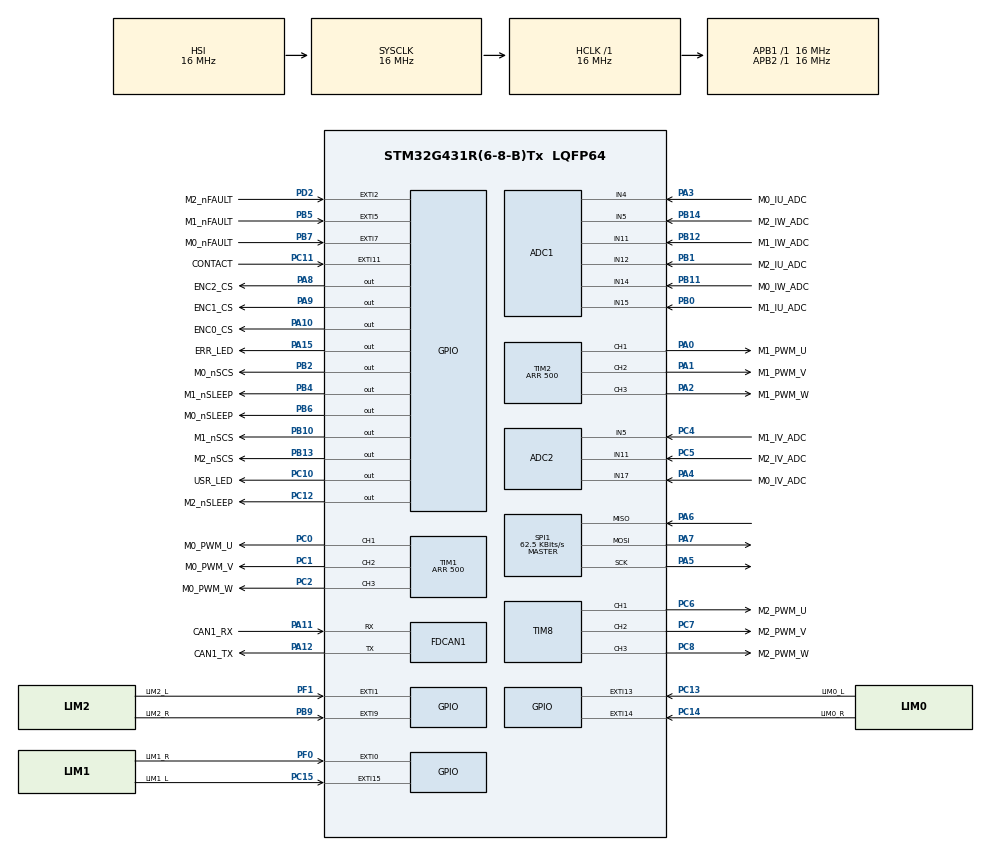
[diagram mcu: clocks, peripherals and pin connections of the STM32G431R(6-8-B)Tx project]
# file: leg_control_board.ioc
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ADC1.ClockPrescaler=ADC_CLOCK_SYNC_PCLK_DIV1
ADC1.EOCSelection=ADC_EOC_SEQ_CONV
ADC1.EnableInjectedConversion=ENABLE
ADC1.EnableRegularConversion=DISABLE
ADC1.ExternalTrigInjecConv=ADC_EXTERNALTRIGINJEC_T1_CC4
ADC1.InjNumberOfConversion=3
ADC1.InjectedChannel-3\#ChannelInjectedConversion=ADC_CHANNEL_4
ADC1.InjectedChannel-4\#ChannelInjectedConversion=ADC_CHANNEL_15
ADC1.InjectedChannel-5\#ChannelInjectedConversion=ADC_CHANNEL_12
ADC1.InjectedOffsetNumber-3\#ChannelInjectedConversion=ADC_OFFSET_NONE
ADC1.InjectedOffsetNumber-4\#ChannelInjectedConversion=ADC_OFFSET_NONE
ADC1.InjectedOffsetNumber-5\#ChannelInjectedConversion=ADC_OFFSET_NONE
ADC1.InjectedRank-3\#ChannelInjectedConversion=1
ADC1.InjectedRank-4\#ChannelInjectedConversion=2
ADC1.InjectedRank-5\#ChannelInjectedConversion=3
ADC1.InjectedSamplingTime-3\#ChannelInjectedConversion=ADC_SAMPLETIME_24CYCLES_5
ADC1.InjectedSamplingTime-4\#ChannelInjectedConversion=ADC_SAMPLETIME_24CYCLES_5
ADC1.InjectedSamplingTime-5\#ChannelInjectedConversion=ADC_SAMPLETIME_24CYCLES_5
ADC1.Mode=ADC_DUALMODE_INJECSIMULT
ADC1.Rank1_Channel=ADC_CHANNEL_4
ADC1.Rank2_Channel=ADC_CHANNEL_15
ADC1.Rank3_Channel=ADC_CHANNEL_12
ADC1.master=1
ADC2.Channel-2\#ChannelRegularConversion=ADC_CHANNEL_17
ADC2.ClockPrescaler=ADC_CLOCK_SYNC_PCLK_DIV1
ADC2.EOCSelection=ADC_EOC_SEQ_CONV
ADC2.EnableInjectedConversion=ENABLE
ADC2.EnableInjectedOversampling=DISABLE
ADC2.InjNumberOfConversion=3
ADC2.InjectedChannel-3\#ChannelInjectedConversion=ADC_CHANNEL_17
ADC2.InjectedChannel-4\#ChannelInjectedConversion=ADC_CHANNEL_5
ADC2.InjectedChannel-5\#ChannelInjectedConversion=ADC_CHANNEL_11
ADC2.InjectedOffsetNumber-3\#ChannelInjectedConversion=ADC_OFFSET_NONE
ADC2.InjectedOffsetNumber-4\#ChannelInjectedConversion=ADC_OFFSET_NONE
ADC2.InjectedOffsetNumber-5\#ChannelInjectedConversion=ADC_OFFSET_NONE
ADC2.InjectedRank-3\#ChannelInjectedConversion=1
ADC2.InjectedRank-4\#ChannelInjectedConversion=2
ADC2.InjectedRank-5\#ChannelInjectedConversion=3
ADC2.InjectedSamplingTime-3\#ChannelInjectedConversion=ADC_SAMPLETIME_24CYCLES_5
ADC2.InjectedSamplingTime-4\#ChannelInjectedConversion=ADC_SAMPLETIME_24CYCLES_5
ADC2.InjectedSamplingTime-5\#ChannelInjectedConversion=ADC_SAMPLETIME_24CYCLES_5
ADC2.Mode=ADC_DUALMODE_INJECSIMULT
ADC2.NbrOfConversionFlag=1
ADC2.OffsetNumber-2\#ChannelRegularConversion=ADC_OFFSET_NONE
ADC2.Rank-2\#ChannelRegularConversion=1
ADC2.Rank1_Channel=ADC_CHANNEL_17
ADC2.Rank2_Channel=ADC_CHANNEL_5
ADC2.Rank3_Channel=ADC_CHANNEL_11
ADC2.SamplingTime-2\#ChannelRegularConversion=ADC_SAMPLETIME_2CYCLES_5
ADC2.injectedQueueMode=DISABLE
FDCAN1.CalculateBaudRateNominal=333333
FDCAN1.CalculateTimeBitNominal=3000
FDCAN1.CalculateTimeQuantumNominal=1000.0
Mcu.Family=STM32G4
Mcu.Name=STM32G431R(6-8-B)Tx
Mcu.Package=LQFP64
NVIC.ADC1_2_IRQn=true\:0\:0\:false\:false\:true\:true\:true\:true
NVIC.PriorityGroup=NVIC_PRIORITYGROUP_4
NVIC.TIM1_CC_IRQn=true\:0\:0\:false\:false\:true\:true\:true\:true
NVIC.TIM1_UP_TIM16_IRQn=true\:0\:0\:false\:false\:true\:true\:true\:true
NVIC.TIM6_DAC_IRQn=true\:0\:0\:false\:false\:true\:true\:true\:true
PA0.GPIO_Label=M1_PWM_U
PA0.Signal=S_TIM2_CH1
PA1.GPIO_Label=M1_PWM_V
PA1.Signal=S_TIM2_CH2
PA10.GPIO_Label=ENC0_CS
PA10.Signal=GPIO_Output
PA11.GPIO_Label=CAN1_RX
PA11.Mode=FDCAN_Activate
PA11.Signal=FDCAN1_RX
PA12.GPIO_Label=CAN1_TX
PA12.Mode=FDCAN_Activate
PA12.Signal=FDCAN1_TX
PA13.GPIO_Label=SWDIO
PA13.Mode=Trace_Asynchronous_SW
PA13.Signal=SYS_JTMS-SWDIO
PA14.GPIO_Label=SWCLK
PA14.Mode=Trace_Asynchronous_SW
PA14.Signal=SYS_JTCK-SWCLK
PA15.GPIO_Label=ERR_LED
PA15.Signal=GPIO_Output
PA2.GPIO_Label=M1_PWM_W
PA2.Signal=S_TIM2_CH3
PA3.GPIO_Label=M0_IU_ADC
PA3.Mode=IN4-Single-Ended
PA3.Signal=ADC1_IN4
PA4.GPIO_Label=M0_IV_ADC
PA4.Mode=IN17-Single-Ended
PA4.Signal=ADC2_IN17
PA5.Mode=Full_Duplex_Master
PA5.Signal=SPI1_SCK
PA6.Mode=Full_Duplex_Master
PA6.Signal=SPI1_MISO
PA7.Mode=Full_Duplex_Master
PA7.Signal=SPI1_MOSI
PA8.GPIO_Label=ENC2_CS
PA8.Signal=GPIO_Output
PA9.GPIO_Label=ENC1_CS
PA9.Signal=GPIO_Output
PB0.GPIO_Label=M1_IU_ADC
PB0.Mode=IN15-Single-Ended
PB0.Signal=ADC1_IN15
PB1.GPIO_Label=M2_IU_ADC
PB1.Mode=IN12-Single-Ended
PB1.Signal=ADC1_IN12
PB10.GPIO_Label=M1_nSCS
PB10.Signal=GPIO_Output
PB11.GPIO_Label=M0_IW_ADC
PB11.Mode=IN14-Single-Ended
PB11.Signal=ADC1_IN14
PB12.GPIO_Label=M1_IW_ADC
PB12.Mode=IN11-Single-Ended
PB12.Signal=ADC1_IN11
PB13.GPIO_Label=M2_nSCS
PB13.Signal=GPIO_Output
PB14.GPIO_Label=M2_IW_ADC
PB14.Mode=IN5-Single-Ended
PB14.Signal=ADC1_IN5
PB2.GPIO_Label=M0_nSCS
PB2.Signal=GPIO_Output
PB3.GPIO_Label=SWO
PB3.Mode=Trace_Asynchronous_SW
PB3.Signal=SYS_JTDO-SWO
PB4.GPIO_Label=M1_nSLEEP
PB4.Signal=GPIO_Output
PB5.GPIO_Label=M1_nFAULT
PB5.Signal=GPXTI5
PB6.GPIO_Label=M0_nSLEEP
PB6.Signal=GPIO_Output
PB7.GPIO_Label=M0_nFAULT
PB7.Signal=GPXTI7
PB9.GPIO_Label=LIM2_R
PB9.Signal=GPXTI9
PC0.GPIO_Label=M0_PWM_U
PC0.Signal=S_TIM1_CH1
PC1.GPIO_Label=M0_PWM_V
PC1.Signal=S_TIM1_CH2
PC10.GPIO_Label=USR_LED
PC10.Signal=GPIO_Output
PC11.GPIO_Label=CONTACT
PC11.Signal=GPXTI11
PC12.GPIO_Label=M2_nSLEEP
PC12.Signal=GPIO_Output
PC13.GPIO_Label=LIM0_L
PC13.Signal=GPXTI13
PC14-OSC32_IN.GPIO_Label=LIM0_R
PC14-OSC32_IN.Signal=GPXTI14
PC15-OSC32_OUT.GPIO_Label=LIM1_L
PC15-OSC32_OUT.Signal=GPXTI15
PC2.GPIO_Label=M0_PWM_W
PC2.Signal=S_TIM1_CH3
PC3.GPIO_Label=DRV_BKIN
PC3.Signal=TIM1_BKIN2
PC4.GPIO_Label=M1_IV_ADC
PC4.Mode=IN5-Single-Ended
PC4.Signal=ADC2_IN5
PC5.GPIO_Label=M2_IV_ADC
PC5.Mode=IN11-Single-Ended
PC5.Signal=ADC2_IN11
PC6.GPIO_Label=M2_PWM_U
PC6.Signal=S_TIM8_CH1
PC7.GPIO_Label=M2_PWM_V
PC7.Signal=S_TIM8_CH2
PC8.GPIO_Label=M2_PWM_W
PC8.Signal=S_TIM8_CH3
PD2.GPIO_Label=M2_nFAULT
PD2.Signal=GPXTI2
PF0-OSC_IN.GPIO_Label=LIM1_R
PF0-OSC_IN.Signal=GPXTI0
PF1-OSC_OUT.GPIO_Label=LIM2_L
PF1-OSC_OUT.Signal=GPXTI1
ProjectManager.HeapSize=0x200
ProjectManager.StackSize=0x400
ProjectManager.TargetToolchain=CMake
RCC.ADC12Freq_Value=16000000
RCC.AHBFreq_Value=16000000
RCC.APB1Freq_Value=16000000
RCC.APB1TimFreq_Value=16000000
RCC.APB2Freq_Value=16000000
RCC.APB2TimFreq_Value=16000000
RCC.CortexFreq_Value=16000000
RCC.EXTERNAL_CLOCK_VALUE=12288000
RCC.HCLKFreq_Value=16000000
RCC.HSE_VALUE=8000000
RCC.HSI48_VALUE=48000000
RCC.HSI_VALUE=16000000
RCC.LSE_VALUE=32768
RCC.PLLM=RCC_PLLM_DIV4
RCC.PLLN=50
RCC.SYSCLKFreq_VALUE=16000000
RCC.USBFreq_Value=100000000
RCC.VCOOutputFreq_Value=200000000
SH.S_TIM1_CH1.0=TIM1_CH1,PWM Generation1 CH1
SH.S_TIM1_CH2.0=TIM1_CH2,PWM Generation2 CH2
SH.S_TIM1_CH3.0=TIM1_CH3,PWM Generation3 CH3
SH.S_TIM2_CH1.0=TIM2_CH1,PWM Generation1 CH1
SH.S_TIM2_CH2.0=TIM2_CH2,PWM Generation2 CH2
SH.S_TIM2_CH3.0=TIM2_CH3,PWM Generation3 CH3
SH.S_TIM8_CH1.0=TIM8_CH1,Output Compare1 CH1
SH.S_TIM8_CH2.0=TIM8_CH2,Output Compare2 CH2
SH.S_TIM8_CH3.0=TIM8_CH3,Output Compare3 CH3
SPI1.BaudRatePrescaler=SPI_BAUDRATEPRESCALER_256
SPI1.CLKPhase=SPI_PHASE_2EDGE
SPI1.CalculateBaudRate=62.5 KBits/s
SPI1.DataSize=SPI_DATASIZE_8BIT
SPI1.Direction=SPI_DIRECTION_2LINES
SPI1.Mode=SPI_MODE_MASTER
SPI1.VirtualType=VM_MASTER
TIM1.AutoReloadPreload=TIM_AUTORELOAD_PRELOAD_ENABLE
TIM1.Channel-PWM\ Generation1\ CH1=TIM_CHANNEL_1
TIM1.Channel-PWM\ Generation2\ CH2=TIM_CHANNEL_2
TIM1.Channel-PWM\ Generation3\ CH3=TIM_CHANNEL_3
TIM1.Channel-PWM\ Generation4\ No\ Output=TIM_CHANNEL_4
TIM1.CounterMode=TIM_COUNTERMODE_CENTERALIGNED1
TIM1.OC4Preload_PWM=DISABLE
TIM1.PeriodNoDither=500
TIM1.PulseNoDither_1=250
TIM1.PulseNoDither_2=250
TIM1.PulseNoDither_3=250
TIM1.PulseNoDither_4=450
TIM1.RepetitionCounter=1
TIM1.TIM_MasterOutputTrigger=TIM_TRGO_UPDATE
TIM2.AutoReloadPreload=TIM_AUTORELOAD_PRELOAD_ENABLE
TIM2.Channel-PWM\ Generation1\ CH1=TIM_CHANNEL_1
TIM2.Channel-PWM\ Generation2\ CH2=TIM_CHANNEL_2
TIM2.Channel-PWM\ Generation3\ CH3=TIM_CHANNEL_3
TIM2.Channel-PWM\ Generation4\ No\ Output=TIM_CHANNEL_4
TIM2.CounterMode=TIM_COUNTERMODE_CENTERALIGNED1
TIM2.OCMode_PWM-PWM\ Generation4\ No\ Output=TIM_OCMODE_PWM2
TIM2.PeriodNoDither=500
TIM2.PulseNoDither_1=250
TIM2.PulseNoDither_2=250
TIM2.PulseNoDither_3=250
TIM2.PulseNoDither_4=480
TIM2.TIM_MasterOutputTrigger=TIM_TRGO_OC4REF
TIM2.TIM_MasterSlaveMode=TIM_MASTERSLAVEMODE_DISABLE
TIM6.PeriodNoDither=999
TIM6.Prescaler=169
TIM8.Channel-Output\ Compare1\ CH1=TIM_CHANNEL_1
TIM8.Channel-Output\ Compare2\ CH2=TIM_CHANNEL_2
TIM8.Channel-Output\ Compare3\ CH3=TIM_CHANNEL_3
TIM8.Channel-Output\ Compare4\ No\ Output=TIM_CHANNEL_4
VP_CORDIC_VS_CORDIC.Mode=CORDIC_Activate
VP_SYS_VS_DBSignals.Mode=DisableDeadBatterySignals
VP_TIM1_VS_ClockSourceINT.Mode=Internal
VP_TIM1_VS_no_output4.Mode=PWM Generation4 No Output
VP_TIM2_VS_ClockSourceINT.Mode=Internal
VP_TIM2_VS_ClockSourceITR.Mode=TriggerSource_ITR0
VP_TIM2_VS_ControllerModeTrigger.Mode=Trigger Mode
VP_TIM2_VS_no_output4.Mode=PWM Generation4 No Output
VP_TIM6_VS_ClockSourceINT.Mode=Enable_Timer
VP_TIM8_VS_ClockSourceINT.Mode=Internal
VP_TIM8_VS_no_output4.Mode=Output Compare4 No Output
board=custom

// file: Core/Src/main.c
/* USER CODE BEGIN Header */
/**
 ******************************************************************************
 * @file           : main.c
 * @brief          : Main program body
 ******************************************************************************
 * @attention
 *
 * Copyright (c) 2026 STMicroelectronics.
 * All rights reserved.
 *
 * This software is licensed under terms that can be found in the LICENSE file
 * in the root directory of this software component.
 * If no LICENSE file comes with this software, it is provided AS-IS.
 *
 ******************************************************************************
 */
/* USER CODE END Header */
#include "main.h"
#include "adc.h"
#include "cordic.h"
#include "fdcan.h"
#include "gpio.h"
#include "spi.h"
#include "tim.h"

/* USER CODE BEGIN Includes */
#include "as5048a_adapter.h"
#include "current_sense.h"
#include "drv8316_adapter.h"
#include "foc9_adapter.h"
#include "swo.h"
#include <limits.h>
#include <stdbool.h>
#include <stdint.h>
#include <stdio.h>

/* USER CODE END Includes */

void SystemClock_Config(void);

/* USER CODE BEGIN 0 */
static AS5048A_Sample_t sample;

/* USER CODE END 0 */

int main(void) {

  /* MCU Configuration--------------------------------------------------------*/

  /* Reset of all peripherals, Initializes the Flash interface and the Systick. */
  HAL_Init();

  /* USER CODE BEGIN Init */

  CoreDebug->DEMCR |= CoreDebug_DEMCR_TRCENA_Msk;
  DWT->CYCCNT = 0;
  DWT->CTRL |= DWT_CTRL_CYCCNTENA_Msk;

  /* USER CODE END Init */

  /* Configure the system clock */
  SystemClock_Config();

  /* USER CODE BEGIN SysInit */

  SWO_Init();
  /* USER CODE END SysInit */

  /* Initialize all configured peripherals */
  MX_GPIO_Init();
  MX_ADC1_Init();
  MX_ADC2_Init();
  MX_CORDIC_Init();
  MX_FDCAN1_Init();
  MX_SPI1_Init();
  MX_TIM1_Init();
  MX_TIM2_Init();
  MX_TIM8_Init();
  MX_TIM6_Init();
  /* USER CODE BEGIN 2 */
  HAL_GPIO_WritePin(M0_nSLEEP_GPIO_Port, M0_nSLEEP_Pin, GPIO_PIN_RESET);

  if (HAL_ADCEx_Calibration_Start(&hadc1, ADC_SINGLE_ENDED) != HAL_OK) {
    Error_Handler();
  };

  if (HAL_ADCEx_Calibration_Start(&hadc2, ADC_SINGLE_ENDED) != HAL_OK) {
    Error_Handler();
  };

  if (drv8316_init_instance(DRV8316_INSTANCE_1) != HAL_OK) {
    Error_Handler();
  }

  if (drv8316_init_instance(DRV8316_INSTANCE_2) != HAL_OK) {
    Error_Handler();
  }

  // if (drv8316_init_instance(DRV8316_INSTANCE_3) != HAL_OK) {
  //   Error_Handler();
  // }

  // if (as5048a_init_instance(AS5048A_INSTANCE_1) != HAL_OK) {
  //   Error_Handler();
  // }

  if (as5048a_init_instance(AS5048A_INSTANCE_2) != HAL_OK) {
    Error_Handler();
  }

  // if (as5048a_init_instance(AS5048A_INSTANCE_3) != HAL_OK) {
  //   Error_Handler();
  // }

  if (as5048a_begin_continuous_angle_read(AS5048A_INSTANCE_2) != HAL_OK) {
    Error_Handler();
  }

  if (drv8316_wake(DRV8316_INSTANCE_1) != HAL_OK) {
    Error_Handler();
  };

  if (drv8316_wake(DRV8316_INSTANCE_2) != HAL_OK) {
    Error_Handler();
  };

  CurrentSense_Init();

  HAL_Delay(10);

  // 3. Start timer channels
  if (HAL_TIM_PWM_Start(&htim2, TIM_CHANNEL_1) != HAL_OK) {
    Error_Handler();
  }

  if (HAL_TIM_PWM_Start(&htim2, TIM_CHANNEL_2) != HAL_OK) {
    Error_Handler();
  }

  if (HAL_TIM_PWM_Start(&htim2, TIM_CHANNEL_3) != HAL_OK) {
    Error_Handler();
  }

  // 1. Arm ADC2 (slave)
  if (HAL_ADCEx_InjectedStart(&hadc2) != HAL_OK) {
    Error_Handler();
  }

  // 2. Arm ADC1 (master, interrupt enabled)
  if (HAL_ADCEx_InjectedStart_IT(&hadc1) != HAL_OK) {
    Error_Handler();
  }

  if (HAL_TIM_PWM_Start(&htim1, TIM_CHANNEL_1) != HAL_OK) {
    Error_Handler();
  }

  if (HAL_TIM_PWM_Start(&htim1, TIM_CHANNEL_2) != HAL_OK) {
    Error_Handler();
  }

  if (HAL_TIM_PWM_Start(&htim1, TIM_CHANNEL_3) != HAL_OK) {
    Error_Handler();
  }

  if (HAL_TIM_PWM_Start(&htim1, TIM_CHANNEL_4) != HAL_OK) {
    Error_Handler();
  }

  uint32_t arr = __HAL_TIM_GET_AUTORELOAD(&htim1);
  uint32_t neutral = arr / 2U;

  __HAL_TIM_SET_COMPARE(&htim1, TIM_CHANNEL_1, neutral);
  __HAL_TIM_SET_COMPARE(&htim1, TIM_CHANNEL_2, neutral);
  __HAL_TIM_SET_COMPARE(&htim1, TIM_CHANNEL_3, neutral);

  /* USER CODE END 2 */

  /* Infinite loop */
  /* USER CODE BEGIN WHILE */

  HAL_GPIO_WritePin(USR_LED_GPIO_Port, USR_LED_Pin, 1);
  HAL_Delay(100);
  HAL_GPIO_WritePin(USR_LED_GPIO_Port, USR_LED_Pin, 0);
  HAL_Delay(100);
  HAL_GPIO_WritePin(USR_LED_GPIO_Port, USR_LED_Pin, 1);
  HAL_Delay(100);
  HAL_GPIO_WritePin(USR_LED_GPIO_Port, USR_LED_Pin, 0);

  // WARN: Fix this
  axis_init_instance(AXIS_INSTANCE_1);
  axis_init_instance(AXIS_INSTANCE_2);

  uint8_t prev_drv1_cmd = 0;
  uint8_t prev_drv2_cmd = 0;
  uint8_t prev_drv3_cmd = 0;

  while (1) {

    CurrentSense_PrintStatus();
    /* USER CODE END WHILE */

    /* USER CODE BEGIN 3 */

    if (drv8316_1_enable_cmd != prev_drv1_cmd) {
      if (drv8316_1_enable_cmd) {
        drv8316_wake(DRV8316_INSTANCE_1);
      } else {
        drv8316_sleep(DRV8316_INSTANCE_1);
      }

      prev_drv1_cmd = drv8316_1_enable_cmd;
    }

    if (drv8316_2_enable_cmd != prev_drv2_cmd) {
      if (drv8316_2_enable_cmd) {
        drv8316_wake(DRV8316_INSTANCE_2);
      } else {
        drv8316_sleep(DRV8316_INSTANCE_2);
      }

      prev_drv2_cmd = drv8316_2_enable_cmd;
    }

    if (drv8316_3_enable_cmd != prev_drv3_cmd) {
      if (drv8316_3_enable_cmd) {
        drv8316_wake(DRV8316_INSTANCE_3);
      } else {
        drv8316_sleep(DRV8316_INSTANCE_3);
      }

      prev_drv3_cmd = drv8316_3_enable_cmd;
    }

    // if (!axis_calibrated)
    //   axis_calibrate_electrical_offset();

    // if (motor_headless_rotating) {
    //   if (axis_full_rotation(1, 5) != HAL_OK) {
    //     Error_Handler();
    //   };
    //   motor_headless_rotating = false;
    // }

    HAL_Delay(100);
  }
  /* USER CODE END 3 */
}

void SystemClock_Config(void) {
  RCC_OscInitTypeDef RCC_OscInitStruct = {0};
  RCC_ClkInitTypeDef RCC_ClkInitStruct = {0};

  /** Configure the main internal regulator output voltage
   */
  HAL_PWREx_ControlVoltageScaling(PWR_REGULATOR_VOLTAGE_SCALE1);

  /** Initializes the RCC Oscillators according to the specified parameters
   * in the RCC_OscInitTypeDef structure.
   */
  RCC_OscInitStruct.OscillatorType = RCC_OSCILLATORTYPE_HSI;
  RCC_OscInitStruct.HSIState = RCC_HSI_ON;
  RCC_OscInitStruct.HSICalibrationValue = RCC_HSICALIBRATION_DEFAULT;
  RCC_OscInitStruct.PLL.PLLState = RCC_PLL_NONE;
  if (HAL_RCC_OscConfig(&RCC_OscInitStruct) != HAL_OK) {
    Error_Handler();
  }

  /** Initializes the CPU, AHB and APB buses clocks
   */
  RCC_ClkInitStruct.ClockType =
      RCC_CLOCKTYPE_HCLK | RCC_CLOCKTYPE_SYSCLK | RCC_CLOCKTYPE_PCLK1 | RCC_CLOCKTYPE_PCLK2;
  RCC_ClkInitStruct.SYSCLKSource = RCC_SYSCLKSOURCE_HSI;
  RCC_ClkInitStruct.AHBCLKDivider = RCC_SYSCLK_DIV1;
  RCC_ClkInitStruct.APB1CLKDivider = RCC_HCLK_DIV1;
  RCC_ClkInitStruct.APB2CLKDivider = RCC_HCLK_DIV1;

  if (HAL_RCC_ClockConfig(&RCC_ClkInitStruct, FLASH_LATENCY_0) != HAL_OK) {
    Error_Handler();
  }
}

void Error_Handler(void) {
  /* USER CODE BEGIN Error_Handler_Debug */
  /* User can add his own implementation to report the HAL error return state
   */
  HAL_GPIO_WritePin(ERR_LED_GPIO_Port, ERR_LED_Pin, GPIO_PIN_SET);
  printf("Error Detected\r\n");
  __disable_irq();
  while (1) {
  }
  /* USER CODE END Error_Handler_Debug */
}
#ifdef USE_FULL_ASSERT
/**
 * @brief  Reports the name of the source file and the source line number
 *         where the assert_param error has occurred.
 * @param  file: pointer to the source file name
 * @param  line: assert_param error line source number
 * @retval None
 */
void assert_failed(uint8_t* file, uint32_t line) {
  /* USER CODE BEGIN 6 */
  /* User can add his own implementation to report the file name and line
     number, ex: printf("Wrong parameters value: file %s on line %d\r\n",
     file, line) */
  /* USER CODE END 6 */
}
#endif /* USE_FULL_ASSERT */
